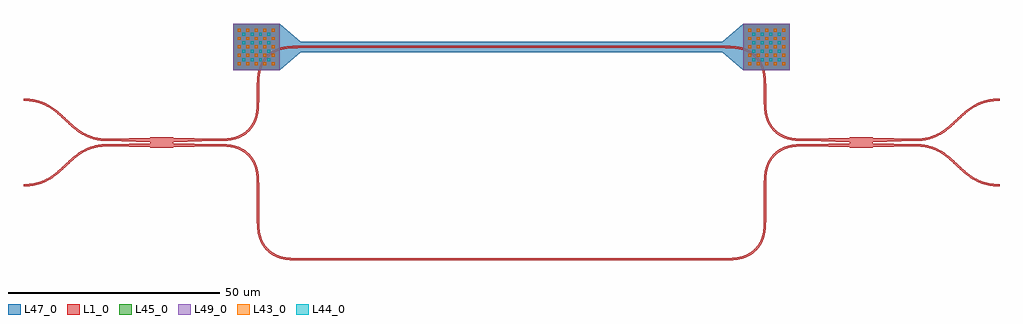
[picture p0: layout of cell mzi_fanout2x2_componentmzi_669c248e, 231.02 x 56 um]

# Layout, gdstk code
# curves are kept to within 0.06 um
from math import pi, radians
import gdstk
lib = gdstk.Library(unit=1e-6, precision=1e-09)
def R(c, l, rs):  # rectangles x0, y0, x1, y1
    for r in rs: c.add(gdstk.rectangle(r[:2], r[2:], *l))
def P(c, l, *ps):  # polygons
    for p in ps: c.add(gdstk.Polygon(p, *l))
L1_0 = (1, 0)
L43_0 = (43, 0)
L44_0 = (44, 0)
L45_0 = (45, 0)
L47_0 = (47, 0)
L49_0 = (49, 0)

mmi2x2 = lib.new_cell('mmi2x2')
R(mmi2x2, L1_0, [(0,-1.25,5.5,1.25)])
P(mmi2x2, L1_0, [(-10,-0.375),(0,-0.125),(0,-1.125),(-10,-0.875)],
  [(-10,0.875),(0,1.125),(0,0.125),(-10,0.375)],
  [(15.5,0.375),(5.5,0.125),(5.5,1.125),(15.5,0.875)],
  [(15.5,-0.875),(5.5,-1.125),(5.5,-0.125),(15.5,-0.375)])

bend_euler = lib.new_cell('bend_euler')
P(bend_euler, L1_0, [(0,-0.25),(2.795,-0.158),(4.746,0.203),(5.688,0.543),(6.455,0.934),(7.285,1.5),(7.928,2.072),(8.5,2.715),(9.066,3.545),(9.457,4.312),(9.797,5.254),(10.158,7.205),(10.25,10),(9.75,10),(9.647,7.119),(9.48,6.048),(9.194,5.01),(8.495,3.569),(7.575,2.425),(6.431,1.505),(4.99,0.806),(3.952,0.52),(2.881,0.353),(0,0.25)])

straight_length7p0 = lib.new_cell('straight_length7p0')
R(straight_length7p0, L1_0, [(0,-0.25,7,0.25)])

straight_length100 = lib.new_cell('straight_length100')
R(straight_length100, L1_0, [(0,-0.25,100,0.25)])

straight_length2p0 = lib.new_cell('straight_length2p0')
R(straight_length2p0, L1_0, [(0,-0.25,2,0.25)])

straight_length0p1 = lib.new_cell('straight_length0p1')
R(straight_length0p1, L1_0, [(0,-0.25,0.1,0.25)])

straight_eb3a9936 = lib.new_cell('straight_eb3a9936')
R(straight_eb3a9936, L1_0, [(0,-0.25,31.9,0.25)])
R(straight_eb3a9936, L47_0, [(0,-1.25,31.9,1.25)])

straight_dd206e18 = lib.new_cell('straight_dd206e18')
R(straight_dd206e18, L1_0, [(0,-0.25,30,0.25)])
R(straight_dd206e18, L47_0, [(0,-1.25,30,1.25)])

straight_9b995e61 = lib.new_cell('straight_9b995e61')
R(straight_9b995e61, L1_0, [(0,-0.25,6,0.25)])
R(straight_9b995e61, L47_0, [(0,-1.25,6,1.25)])

component_sequence_dceb0 = lib.new_cell('component_sequence_dceb053b')
component_sequence_dceb0.add(gdstk.Reference(straight_length0p1, (0,0)))
component_sequence_dceb0.add(gdstk.Reference(straight_eb3a9936, (0.1,0)))
component_sequence_dceb0.add(gdstk.Reference(straight_dd206e18, (32,0)))
component_sequence_dceb0.add(gdstk.Reference(straight_9b995e61, (62,0)))
component_sequence_dceb0.add(gdstk.Reference(straight_eb3a9936, (68,0)))
component_sequence_dceb0.add(gdstk.Reference(straight_length0p1, (99.9,0)))

compass_d8224c77 = lib.new_cell('compass_d8224c77')
R(compass_d8224c77, L47_0, [(-5.5,-5.5,5.5,5.5)])

compass_layerm2_size11p0 = lib.new_cell('compass_layerM2_size11p0__11p0')
R(compass_layerm2_size11p0, L45_0, [(-5.5,-5.5,5.5,5.5)])

compass_layermtop_size11 = lib.new_cell('compass_layerMTOP_size11p0__11p0')
R(compass_layermtop_size11, L49_0, [(-5.5,-5.5,5.5,5.5)])

via_enclosure2_layervia1 = lib.new_cell('via_enclosure2_layerVIA1')
R(via_enclosure2_layervia1, L44_0, [(-0.35,-0.35,0.35,0.35)])

via_layervia2 = lib.new_cell('via_layerVIA2')
R(via_layervia2, L43_0, [(-0.35,-0.35,0.35,0.35)])

via_stack_7bdb8e37 = lib.new_cell('via_stack_7bdb8e37')
via_stack_7bdb8e37.add(gdstk.Reference(compass_d8224c77, (0,0)))
via_stack_7bdb8e37.add(gdstk.Reference(compass_layerm2_size11p0, (0,0)))
via_stack_7bdb8e37.add(gdstk.Reference(compass_layermtop_size11, (0,0)))
r = gdstk.Reference(via_enclosure2_layervia1, (-3,-3)); r.repetition = gdstk.Repetition(4, 4, v1=(2,0), v2=(0,2)); via_stack_7bdb8e37.add(r)
r = gdstk.Reference(via_layervia2, (-4,-4)); r.repetition = gdstk.Repetition(5, 5, v1=(2,0), v2=(0,2)); via_stack_7bdb8e37.add(r)

taper_f5fc1843 = lib.new_cell('taper_f5fc1843')
P(taper_f5fc1843, L47_0, [(0,5.5),(5,1.25),(5,-1.25),(0,-5.5)])

straight_heater_metal_un = lib.new_cell('straight_heater_metal_undercut_f4fdc38b')
straight_heater_metal_un.add(gdstk.Reference(component_sequence_dceb0, (0,0)))
straight_heater_metal_un.add(gdstk.Reference(via_stack_7bdb8e37, (-10.4,0)))
straight_heater_metal_un.add(gdstk.Reference(via_stack_7bdb8e37, (110.4,0)))
straight_heater_metal_un.add(gdstk.Reference(taper_f5fc1843, (-4.9,0)))
straight_heater_metal_un.add(gdstk.Reference(taper_f5fc1843, (104.9,0), rotation=pi))

bend_euler_a459ac5d = lib.new_cell('bend_euler_a459ac5d')
P(bend_euler_a459ac5d, L1_0, [(0,-0.25),(2.795,-0.158),(4.746,0.203),(5.688,0.543),(6.455,0.934),(7.285,1.5),(7.928,2.072),(8.5,2.715),(9.066,3.545),(9.457,4.312),(9.797,5.254),(10.158,7.205),(10.25,10),(9.75,10),(9.647,7.119),(9.48,6.048),(9.194,5.01),(8.495,3.569),(7.575,2.425),(6.431,1.505),(4.99,0.806),(3.952,0.52),(2.881,0.353),(0,0.25)])

straight_b69bcf2d = lib.new_cell('straight_b69bcf2d')
R(straight_b69bcf2d, L1_0, [(0,-0.25,0.01,0.25)])

straight_29c75779 = lib.new_cell('straight_29c75779')
R(straight_29c75779, L1_0, [(0,-0.25,2,0.25)])

straight_edf1f094 = lib.new_cell('straight_edf1f094')
R(straight_edf1f094, L1_0, [(0,-0.25,7,0.25)])

mzi_669c248e = lib.new_cell('mzi_669c248e')
mzi_669c248e.add(gdstk.Reference(mmi2x2, (0,0)))
mzi_669c248e.add(gdstk.Reference(mmi2x2, (171.02,0), rotation=pi, x_reflection=True))
mzi_669c248e.add(gdstk.Reference(bend_euler, (15.5,-0.625), x_reflection=True))
mzi_669c248e.add(gdstk.Reference(straight_length7p0, (25.5,-10.625), rotation=3*pi/2))
mzi_669c248e.add(gdstk.Reference(bend_euler, (25.5,-17.625), rotation=3*pi/2))
mzi_669c248e.add(gdstk.Reference(straight_length100, (35.5,-27.625)))
mzi_669c248e.add(gdstk.Reference(bend_euler, (15.5,0.625)))
mzi_669c248e.add(gdstk.Reference(straight_length2p0, (25.5,10.625), rotation=pi/2))
mzi_669c248e.add(gdstk.Reference(bend_euler, (35.5,22.625), rotation=pi))
mzi_669c248e.add(gdstk.Reference(straight_heater_metal_un, (35.5,22.625)))
mzi_669c248e.add(gdstk.Reference(bend_euler_a459ac5d, (135.51,22.625), x_reflection=True))
mzi_669c248e.add(gdstk.Reference(bend_euler_a459ac5d, (145.51,10.625), rotation=3*pi/2))
mzi_669c248e.add(gdstk.Reference(straight_b69bcf2d, (135.5,22.625)))
mzi_669c248e.add(gdstk.Reference(straight_29c75779, (145.51,12.625), rotation=3*pi/2))
mzi_669c248e.add(gdstk.Reference(straight_b69bcf2d, (155.51,0.625)))
mzi_669c248e.add(gdstk.Reference(bend_euler_a459ac5d, (135.51,-27.625)))
mzi_669c248e.add(gdstk.Reference(bend_euler_a459ac5d, (145.51,-10.625), rotation=pi/2, x_reflection=True))
mzi_669c248e.add(gdstk.Reference(straight_b69bcf2d, (135.5,-27.625)))
mzi_669c248e.add(gdstk.Reference(straight_edf1f094, (145.51,-17.625), rotation=pi/2))
mzi_669c248e.add(gdstk.Reference(straight_b69bcf2d, (155.51,-0.625)))

bezier_4f17eae6 = lib.new_cell('bezier_4f17eae6')
P(bezier_4f17eae6, L1_0, [(0,-0.25),(1.452,-0.18),(2.771,0.021),(4.196,0.416),(5.472,0.953),(6.622,1.607),(7.838,2.481),(11.996,6.236),(13.825,7.584),(15.142,8.284),(16.63,8.819),(18.334,9.153),(20,9.25),(20,9.75),(18.548,9.68),(17.229,9.479),(15.804,9.084),(14.528,8.547),(13.378,7.893),(12.162,7.019),(8.004,3.264),(6.175,1.916),(4.858,1.216),(3.37,0.681),(1.666,0.347),(0,0.25)])

bend_s_07417866 = lib.new_cell('bend_s_07417866')
bend_s_07417866.add(gdstk.Reference(bezier_4f17eae6, (0,0)))

mzi_fanout2x2_componentm = lib.new_cell('mzi_fanout2x2_componentmzi_669c248e')
mzi_fanout2x2_componentm.add(gdstk.Reference(mzi_669c248e, (0,-0.125)))
mzi_fanout2x2_componentm.add(gdstk.Reference(bend_s_07417866, (181.02,0.5)))
mzi_fanout2x2_componentm.add(gdstk.Reference(bend_s_07417866, (181.02,-0.75), x_reflection=True))
mzi_fanout2x2_componentm.add(gdstk.Reference(bend_s_07417866, (-10,0.5), rotation=pi, x_reflection=True))
mzi_fanout2x2_componentm.add(gdstk.Reference(bend_s_07417866, (-10,-0.75), rotation=pi))

lib.write_gds('mzi_fanout2x2_componentmzi_669c248e.gds')
